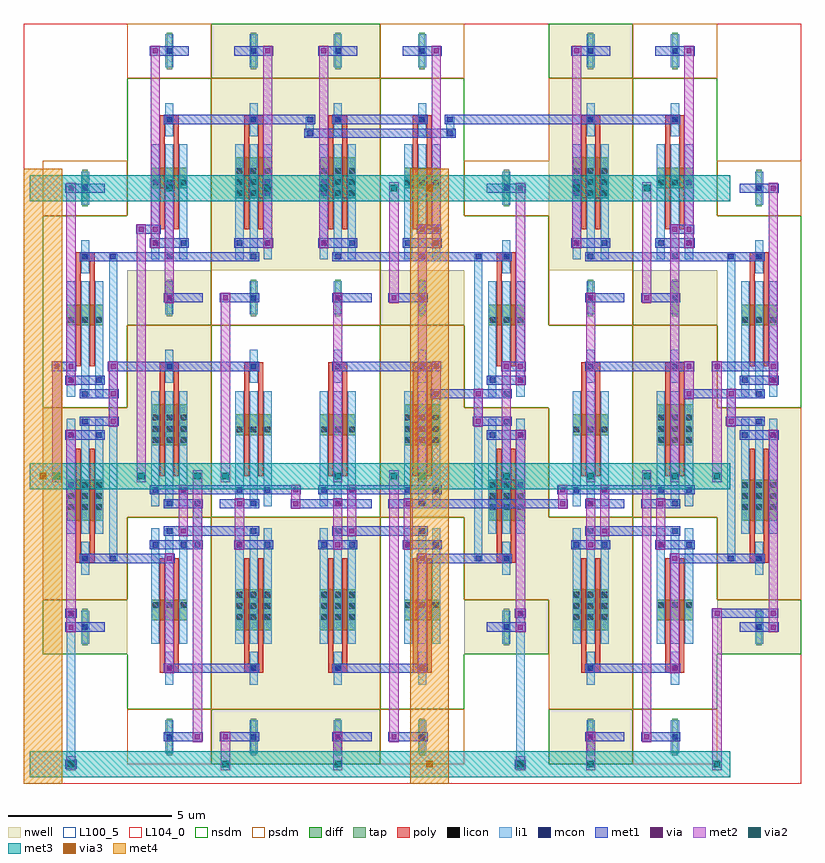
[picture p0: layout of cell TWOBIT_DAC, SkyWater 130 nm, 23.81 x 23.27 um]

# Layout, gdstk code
import gdstk
lib = gdstk.Library(unit=1e-6, precision=1e-09)
def R(c, l, rs):  # rectangles x0, y0, x1, y1
    for r in rs: c.add(gdstk.rectangle(r[:2], r[2:], *l))
def A(c, l, x, y, w, h, nx, ny, dx, dy):  # array of equal rectangles
    R(c, l, [(x+i*dx, y+j*dy, x+i*dx+w, y+j*dy+h) for i in range(nx) for j in range(ny)])
nwell = (64, 20)
diff = (65, 20)
tap = (65, 44)
poly = (66, 20)
licon = (66, 44)
li1 = (67, 20)
mcon = (67, 44)
met1 = (68, 20)
via = (68, 44)
met2 = (69, 20)
via2 = (69, 44)
met3 = (70, 20)
via3 = (70, 44)
met4 = (71, 20)
nsdm = (93, 44)
psdm = (94, 20)
L100_5 = (100, 5)
L104_0 = (104, 0)

twobit_dac = lib.new_cell('TWOBIT_DAC')
A(twobit_dac, nwell, 2.58, 7.56, 2.58, 7.56, 3, 1, 7.74, 0)
R(twobit_dac, nwell, [(5.16,0,7.74,7.56), (7.74,0,10.32,7.56), (15.48,0,18.06,7.56), (0,3.36,2.58,10.92), (12.9,3.36,15.48,10.92), (20.64,3.36,23.22,10.92), (5.16,15.12,7.74,22.68), (7.74,15.12,10.32,22.68), (15.48,15.12,18.06,22.68)])
A(twobit_dac, diff, 3.315, 4.41, 1.11, 0.63, 3, 2, 7.74, 13.23)
A(twobit_dac, diff, 3.315, 9.765, 1.11, 1.26, 3, 1, 7.74, 0)
R(twobit_dac, diff, [(5.895,4.095,7.005,5.355), (8.475,4.095,9.585,5.355), (16.215,4.095,17.325,5.355), (0.735,7.455,1.845,8.715), (13.635,7.455,14.745,8.715), (21.375,7.455,22.485,8.715), (5.895,10.08,7.005,10.71), (8.475,10.08,9.585,10.71), (16.215,10.08,17.325,10.71), (0.735,13.44,1.845,14.07), (13.635,13.44,14.745,14.07), (21.375,13.44,22.485,14.07), (5.895,17.325,7.005,18.585), (8.475,17.325,9.585,18.585), (16.215,17.325,17.325,18.585)])
A(twobit_dac, tap, 3.785, 0.28, 0.17, 1.12, 4, 2, 2.58, 13.44)
A(twobit_dac, tap, 3.785, 21.28, 0.17, 1.12, 4, 1, 2.58, 0)
R(twobit_dac, tap, [(16.685,0.28,16.855,1.4), (19.265,0.28,19.435,1.4), (1.205,3.64,1.375,4.76), (14.105,3.64,14.275,4.76), (21.845,3.64,22.015,4.76), (16.685,13.72,16.855,14.84), (19.265,13.72,19.435,14.84), (1.205,17.08,1.375,18.2), (14.105,17.08,14.275,18.2), (21.845,17.08,22.015,18.2), (16.685,21.28,16.855,22.4), (19.265,21.28,19.435,22.4)])
A(twobit_dac, poly, 3.58, 2.805, 0.58, 0.27, 4, 2, 2.58, 9.24)
A(twobit_dac, poly, 3.58, 19.605, 0.58, 0.27, 4, 1, 2.58, 0)
R(twobit_dac, poly, [(16.48,2.805,17.06,3.075), (19.06,2.805,19.64,3.075), (3.58,2.94,3.73,6.3), (4.01,2.94,4.16,6.3), (6.16,2.94,6.31,6.3), (6.59,2.94,6.74,6.3), (8.74,2.94,8.89,6.3), (9.17,2.94,9.32,6.3), (11.32,2.94,11.47,6.3), (11.75,2.94,11.9,6.3), (16.48,2.94,16.63,6.3), (16.91,2.94,17.06,6.3), (19.06,2.94,19.21,6.3), (19.49,2.94,19.64,6.3), (1,6.165,1.58,6.435), (13.9,6.165,14.48,6.435), (21.64,6.165,22.22,6.435), (1,6.3,1.15,9.66), (1.43,6.3,1.58,9.66), (13.9,6.3,14.05,9.66), (14.33,6.3,14.48,9.66), (21.64,6.3,21.79,9.66), (22.07,6.3,22.22,9.66), (3.58,8.82,3.73,12.18), (4.01,8.82,4.16,12.18), (6.16,8.82,6.31,12.18), (6.59,8.82,6.74,12.18), (8.74,8.82,8.89,12.18), (9.17,8.82,9.32,12.18), (11.32,8.82,11.47,12.18), (11.75,8.82,11.9,12.18), (16.48,8.82,16.63,12.18), (16.91,8.82,17.06,12.18), (19.06,8.82,19.21,12.18), (19.49,8.82,19.64,12.18), (16.48,12.045,17.06,12.315), (19.06,12.045,19.64,12.315), (1,12.18,1.15,15.54), (1.43,12.18,1.58,15.54), (13.9,12.18,14.05,15.54), (14.33,12.18,14.48,15.54), (21.64,12.18,21.79,15.54), (22.07,12.18,22.22,15.54), (1,15.405,1.58,15.675), (13.9,15.405,14.48,15.675), (21.64,15.405,22.22,15.675), (3.58,16.38,3.73,19.74), (4.01,16.38,4.16,19.74), (6.16,16.38,6.31,19.74), (6.59,16.38,6.74,19.74), (8.74,16.38,8.89,19.74), (9.17,16.38,9.32,19.74), (11.32,16.38,11.47,19.74), (11.75,16.38,11.9,19.74), (16.48,16.38,16.63,19.74), (16.91,16.38,17.06,19.74), (19.06,16.38,19.21,19.74), (19.49,16.38,19.64,19.74), (16.48,19.605,17.06,19.875), (19.06,19.605,19.64,19.875)])
A(twobit_dac, licon, 3.785, 0.755, 0.17, 0.17, 4, 2, 2.58, 2.1)
A(twobit_dac, licon, 5.935, 4.425, 0.17, 0.17, 3, 3, 0.43, 0.34)
A(twobit_dac, licon, 8.515, 4.425, 0.17, 0.17, 3, 3, 0.43, 0.34)
A(twobit_dac, licon, 16.255, 4.425, 0.17, 0.17, 3, 3, 0.43, 0.34)
A(twobit_dac, licon, 3.355, 4.79, 0.17, 0.17, 3, 2, 0.43, 5.055)
A(twobit_dac, licon, 11.095, 4.79, 0.17, 0.17, 3, 2, 0.43, 5.055)
A(twobit_dac, licon, 18.835, 4.79, 0.17, 0.17, 3, 2, 0.43, 5.055)
A(twobit_dac, licon, 0.775, 7.785, 0.17, 0.17, 3, 3, 0.43, 0.34)
A(twobit_dac, licon, 13.675, 7.785, 0.17, 0.17, 3, 3, 0.43, 0.34)
A(twobit_dac, licon, 21.415, 7.785, 0.17, 0.17, 3, 3, 0.43, 0.34)
A(twobit_dac, licon, 5.935, 10.16, 0.17, 0.17, 3, 2, 0.43, 7.245)
A(twobit_dac, licon, 8.515, 10.16, 0.17, 0.17, 3, 2, 0.43, 7.245)
A(twobit_dac, licon, 16.255, 10.16, 0.17, 0.17, 3, 2, 0.43, 7.245)
A(twobit_dac, licon, 3.355, 10.185, 0.17, 0.17, 3, 2, 0.43, 0.34)
A(twobit_dac, licon, 11.095, 10.185, 0.17, 0.17, 3, 2, 0.43, 0.34)
A(twobit_dac, licon, 18.835, 10.185, 0.17, 0.17, 3, 2, 0.43, 0.34)
A(twobit_dac, licon, 3.785, 12.095, 0.17, 0.17, 4, 2, 2.58, 2.1)
A(twobit_dac, licon, 0.775, 13.52, 0.17, 0.17, 3, 1, 0.43, 0)
A(twobit_dac, licon, 13.675, 13.52, 0.17, 0.17, 3, 1, 0.43, 0)
A(twobit_dac, licon, 21.415, 13.52, 0.17, 0.17, 3, 1, 0.43, 0)
A(twobit_dac, licon, 3.355, 17.72, 0.17, 0.17, 3, 1, 0.43, 0)
A(twobit_dac, licon, 11.095, 17.72, 0.17, 0.17, 3, 1, 0.43, 0)
A(twobit_dac, licon, 18.835, 17.72, 0.17, 0.17, 3, 1, 0.43, 0)
A(twobit_dac, licon, 5.935, 17.745, 0.17, 0.17, 3, 2, 0.43, 0.34)
A(twobit_dac, licon, 8.515, 17.745, 0.17, 0.17, 3, 2, 0.43, 0.34)
A(twobit_dac, licon, 16.255, 17.745, 0.17, 0.17, 3, 2, 0.43, 0.34)
A(twobit_dac, licon, 3.785, 19.655, 0.17, 0.17, 4, 2, 2.58, 2.1)
R(twobit_dac, licon, [(16.685,0.755,16.855,0.925), (19.265,0.755,19.435,0.925), (16.685,2.855,16.855,3.025), (19.265,2.855,19.435,3.025), (1.205,4.115,1.375,4.285), (14.105,4.115,14.275,4.285), (21.845,4.115,22.015,4.285), (1.205,6.215,1.375,6.385), (14.105,6.215,14.275,6.385), (21.845,6.215,22.015,6.385), (16.685,12.095,16.855,12.265), (19.265,12.095,19.435,12.265), (16.685,14.195,16.855,14.365), (19.265,14.195,19.435,14.365), (1.205,15.455,1.375,15.625), (14.105,15.455,14.275,15.625), (21.845,15.455,22.015,15.625), (1.205,17.555,1.375,17.725), (14.105,17.555,14.275,17.725), (21.845,17.555,22.015,17.725), (16.685,19.655,16.855,19.825), (19.265,19.655,19.435,19.825), (16.685,21.755,16.855,21.925), (19.265,21.755,19.435,21.925)])
A(twobit_dac, li1, 3.745, 0.335, 0.25, 1.01, 4, 2, 2.58, 2.1)
A(twobit_dac, li1, 3.315, 3.695, 0.25, 3.53, 3, 2, 0.43, 4.2)
A(twobit_dac, li1, 5.895, 3.695, 0.25, 3.53, 3, 2, 0.43, 4.2)
A(twobit_dac, li1, 8.475, 3.695, 0.25, 3.53, 3, 2, 0.43, 4.2)
A(twobit_dac, li1, 11.055, 3.695, 0.25, 3.53, 3, 2, 0.43, 4.2)
A(twobit_dac, li1, 16.215, 3.695, 0.25, 3.53, 3, 2, 0.43, 4.2)
A(twobit_dac, li1, 18.795, 3.695, 0.25, 3.53, 3, 2, 0.43, 4.2)
A(twobit_dac, li1, 0.735, 7.055, 0.25, 3.53, 3, 2, 0.43, 4.2)
A(twobit_dac, li1, 13.635, 7.055, 0.25, 3.53, 3, 2, 0.43, 4.2)
A(twobit_dac, li1, 21.375, 7.055, 0.25, 3.53, 3, 2, 0.43, 4.2)
A(twobit_dac, li1, 3.745, 11.675, 0.25, 1.01, 4, 2, 2.58, 2.1)
A(twobit_dac, li1, 3.315, 15.455, 0.25, 3.53, 3, 1, 0.43, 0)
A(twobit_dac, li1, 5.895, 15.455, 0.25, 3.53, 3, 1, 0.43, 0)
A(twobit_dac, li1, 8.475, 15.455, 0.25, 3.53, 3, 1, 0.43, 0)
A(twobit_dac, li1, 11.055, 15.455, 0.25, 3.53, 3, 1, 0.43, 0)
A(twobit_dac, li1, 16.215, 15.455, 0.25, 3.53, 3, 1, 0.43, 0)
A(twobit_dac, li1, 18.795, 15.455, 0.25, 3.53, 3, 1, 0.43, 0)
A(twobit_dac, li1, 3.745, 19.235, 0.25, 1.01, 4, 2, 2.58, 2.1)
R(twobit_dac, li1, [(0.735,-0.085,0.985,4.705), (14.495,-0.085,14.745,4.705), (16.645,0.335,16.895,1.345), (19.225,0.335,19.475,1.345), (16.645,2.435,16.895,3.445), (19.225,2.435,19.475,3.445), (1.165,3.695,1.415,4.705), (14.065,3.695,14.315,4.705), (21.805,3.695,22.055,4.705), (1.165,5.795,1.415,6.805), (14.065,5.795,14.315,6.805), (21.805,5.795,22.055,6.805), (2.025,6.215,2.275,15.625), (13.205,6.215,13.455,15.625), (20.945,6.215,21.195,15.625), (4.605,6.635,4.855,8.065), (16.645,11.675,16.895,12.685), (19.225,11.675,19.475,12.685), (16.645,13.775,16.895,14.785), (19.225,13.775,19.475,14.785), (1.165,15.035,1.415,16.045), (14.065,15.035,14.315,16.045), (21.805,15.035,22.055,16.045), (1.165,17.135,1.415,18.145), (14.065,17.135,14.315,18.145), (21.805,17.135,22.055,18.145), (8.045,19.235,8.295,19.825), (12.345,19.235,12.595,19.825), (16.645,19.235,16.895,20.245), (19.225,19.235,19.475,20.245), (16.645,21.335,16.895,22.345), (19.225,21.335,19.475,22.345)])
A(twobit_dac, mcon, 3.785, 0.755, 0.17, 0.17, 4, 2, 2.58, 2.1)
A(twobit_dac, mcon, 3.785, 7.055, 0.17, 0.17, 4, 2, 2.58, 5.04)
A(twobit_dac, mcon, 6.365, 7.895, 0.17, 0.17, 3, 1, 2.58, 0)
A(twobit_dac, mcon, 3.785, 14.195, 0.17, 0.17, 4, 2, 2.58, 1.26)
A(twobit_dac, mcon, 14.105, 15.455, 0.17, 0.17, 3, 1, 2.58, 0)
A(twobit_dac, mcon, 3.785, 21.755, 0.17, 0.17, 4, 1, 2.58, 0)
R(twobit_dac, mcon, [(0.775,-0.085,0.945,0.085), (14.535,-0.085,14.705,0.085), (16.685,0.755,16.855,0.925), (19.265,0.755,19.435,0.925), (16.685,2.855,16.855,3.025), (19.265,2.855,19.435,3.025), (1.205,4.115,1.375,4.285), (14.105,4.115,14.275,4.285), (21.845,4.115,22.015,4.285), (0.775,4.535,0.945,4.705), (14.535,4.535,14.705,4.705), (1.205,6.215,1.375,6.385), (2.065,6.215,2.235,6.385), (13.245,6.215,13.415,6.385), (14.105,6.215,14.275,6.385), (20.985,6.215,21.155,6.385), (21.845,6.215,22.015,6.385), (3.355,6.635,3.525,6.805), (4.215,6.635,4.385,6.805), (4.645,6.635,4.815,6.805), (5.935,6.635,6.105,6.805), (6.795,6.635,6.965,6.805), (8.515,6.635,8.685,6.805), (9.375,6.635,9.545,6.805), (11.095,6.635,11.265,6.805), (11.955,6.635,12.125,6.805), (16.255,6.635,16.425,6.805), (17.115,6.635,17.285,6.805), (18.835,6.635,19.005,6.805), (19.695,6.635,19.865,6.805), (16.685,7.055,16.855,7.225), (19.265,7.055,19.435,7.225), (3.785,7.895,3.955,8.065), (4.645,7.895,4.815,8.065), (16.685,7.895,16.855,8.065), (19.265,7.895,19.435,8.065), (3.355,8.315,3.525,8.485), (4.215,8.315,4.385,8.485), (5.935,8.315,6.105,8.485), (6.795,8.315,6.965,8.485), (8.515,8.315,8.685,8.485), (9.375,8.315,9.545,8.485), (11.095,8.315,11.265,8.485), (11.955,8.315,12.125,8.485), (16.255,8.315,16.425,8.485), (17.115,8.315,17.285,8.485), (18.835,8.315,19.005,8.485), (19.695,8.315,19.865,8.485), (0.775,9.995,0.945,10.165), (1.635,9.995,1.805,10.165), (13.675,9.995,13.845,10.165), (14.535,9.995,14.705,10.165), (21.415,9.995,21.585,10.165), (22.275,9.995,22.445,10.165), (1.205,10.415,1.375,10.585), (14.105,10.415,14.275,10.585), (21.845,10.415,22.015,10.585), (1.205,11.255,1.375,11.425), (14.105,11.255,14.275,11.425), (21.845,11.255,22.015,11.425), (0.775,11.675,0.945,11.845), (1.635,11.675,1.805,11.845), (13.675,11.675,13.845,11.845), (14.535,11.675,14.705,11.845), (21.415,11.675,21.585,11.845), (22.275,11.675,22.445,11.845), (16.685,12.095,16.855,12.265), (19.265,12.095,19.435,12.265), (16.685,14.195,16.855,14.365), (19.265,14.195,19.435,14.365), (1.205,15.455,1.375,15.625), (2.065,15.455,2.235,15.625), (13.245,15.455,13.415,15.625), (20.985,15.455,21.155,15.625), (21.845,15.455,22.015,15.625), (3.355,15.875,3.525,16.045), (4.215,15.875,4.385,16.045), (5.935,15.875,6.105,16.045), (6.795,15.875,6.965,16.045), (8.515,15.875,8.685,16.045), (9.375,15.875,9.545,16.045), (11.095,15.875,11.265,16.045), (11.955,15.875,12.125,16.045), (16.255,15.875,16.425,16.045), (17.115,15.875,17.285,16.045), (18.835,15.875,19.005,16.045), (19.695,15.875,19.865,16.045), (1.205,17.555,1.375,17.725), (14.105,17.555,14.275,17.725), (21.845,17.555,22.015,17.725), (8.085,19.235,8.255,19.405), (12.385,19.235,12.555,19.405), (3.785,19.655,3.955,19.825), (6.365,19.655,6.535,19.825), (8.085,19.655,8.255,19.825), (8.945,19.655,9.115,19.825), (11.525,19.655,11.695,19.825), (12.385,19.655,12.555,19.825), (16.685,19.655,16.855,19.825), (19.265,19.655,19.435,19.825), (16.685,21.755,16.855,21.925), (19.265,21.755,19.435,21.925)])
A(twobit_dac, met1, 5.85, 6.58, 1.2, 0.28, 3, 1, 2.58, 0)
A(twobit_dac, met1, 1.12, 15.4, 5.5, 0.28, 3, 1, 7.74, 0)
A(twobit_dac, met1, 3.27, 15.82, 1.2, 0.28, 4, 2, 2.58, 5.88)
R(twobit_dac, met1, [(0.69,-0.14,1.03,0.14), (14.45,-0.14,14.79,0.14), (3.7,0.7,4.9,0.98), (5.42,0.7,6.62,0.98), (8.86,0.7,10.06,0.98), (10.58,0.7,11.78,0.98), (16.6,0.7,17.8,0.98), (18.32,0.7,19.52,0.98), (3.7,2.8,6.62,3.08), (8.86,2.8,11.78,3.08), (16.6,2.8,19.52,3.08), (0.69,4.06,1.89,4.34), (13.59,4.06,14.79,4.34), (21.33,4.06,22.53,4.34), (0.69,4.48,1.03,4.76), (14.45,4.48,14.79,4.76), (20.48,4.48,22.52,4.76), (1.12,6.16,4.03,6.44), (11.45,6.16,14.36,6.44), (19.19,6.16,22.1,6.44), (3.27,6.58,4.9,6.86), (16.17,6.58,17.37,6.86), (18.75,6.58,19.95,6.86), (3.7,7,6.62,7.28), (8.86,7,11.78,7.28), (16.6,7,19.52,7.28), (3.7,7.84,4.9,8.12), (5.42,7.84,6.62,8.12), (7.58,7.84,10.06,8.12), (10.58,7.84,16.07,8.12), (16.6,7.84,17.8,8.12), (18.32,7.84,19.52,8.12), (3.27,8.26,7.9,8.54), (8.43,8.26,12.21,8.54), (15.75,8.26,19.95,8.54), (0.69,9.94,1.89,10.22), (13.59,9.94,14.79,10.22), (21.33,9.94,22.53,10.22), (1.12,10.36,2.32,10.64), (13.16,10.36,14.36,10.64), (20.9,10.36,22.1,10.64), (1.12,11.2,2.32,11.48), (11.88,11.2,14.36,11.48), (19.62,11.2,22.1,11.48), (0.69,11.62,1.89,11.9), (13.59,11.62,14.79,11.9), (21.33,11.62,22.53,11.9), (0.27,12.04,1.02,12.32), (1.99,12.04,6.62,12.32), (8.86,12.04,12.2,12.32), (14.03,12.04,14.78,12.32), (16.6,12.04,19.94,12.32), (20.48,12.04,22.52,12.32), (3.7,14.14,4.9,14.42), (5.42,14.14,6.62,14.42), (8.86,14.14,10.06,14.42), (10.58,14.14,11.78,14.42), (16.6,14.14,17.8,14.42), (18.32,14.14,19.52,14.42), (16.17,15.82,17.37,16.1), (18.75,15.82,19.95,16.1), (2.85,16.24,3.6,16.52), (11.45,16.24,12.2,16.52), (19.19,16.24,19.94,16.52), (0.69,17.5,1.89,17.78), (13.59,17.5,14.79,17.78), (21.33,17.5,22.53,17.78), (8,19.18,12.64,19.46), (3.7,19.6,8.34,19.88), (8.86,19.6,11.78,19.88), (12.3,19.6,19.52,19.88), (16.17,21.7,17.37,21.98), (18.75,21.7,19.95,21.98)])
A(twobit_dac, via, 3.795, 2.865, 0.15, 0.15, 3, 2, 7.74, 3.36)
A(twobit_dac, via, 2.075, 10.425, 0.15, 0.15, 1, 3, 0, 0.84)
R(twobit_dac, via, [(0.785,-0.075,0.935,0.075), (14.545,-0.075,14.695,0.075), (4.655,0.765,4.805,0.915), (5.515,0.765,5.665,0.915), (8.955,0.765,9.105,0.915), (10.675,0.765,10.825,0.915), (16.695,0.765,16.845,0.915), (18.415,0.765,18.565,0.915), (0.785,4.125,0.935,4.275), (14.545,4.125,14.695,4.275), (22.285,4.125,22.435,4.275), (0.785,4.545,0.935,4.695), (14.545,4.545,14.695,4.695), (20.565,4.545,20.715,4.695), (22.285,4.545,22.435,4.695), (5.945,6.645,6.095,6.795), (8.955,6.645,9.105,6.795), (11.105,6.645,11.255,6.795), (16.695,6.645,16.845,6.795), (18.845,6.645,18.995,6.795), (4.225,7.065,4.375,7.215), (9.385,7.065,9.535,7.215), (17.125,7.065,17.275,7.215), (5.945,7.905,6.095,8.055), (7.665,7.905,7.815,8.055), (8.955,7.905,9.105,8.055), (11.105,7.905,11.255,8.055), (15.835,7.905,15.985,8.055), (16.695,7.905,16.845,8.055), (18.845,7.905,18.995,8.055), (4.225,8.325,4.375,8.475), (7.665,8.325,7.815,8.475), (9.385,8.325,9.535,8.475), (15.835,8.325,15.985,8.475), (17.125,8.325,17.275,8.475), (0.785,10.005,0.935,10.155), (14.545,10.005,14.695,10.155), (22.285,10.005,22.435,10.155), (13.255,10.425,13.405,10.575), (20.995,10.425,21.145,10.575), (11.965,11.265,12.115,11.415), (13.255,11.265,13.405,11.415), (19.705,11.265,19.855,11.415), (20.995,11.265,21.145,11.415), (0.785,11.685,0.935,11.835), (14.545,11.685,14.695,11.835), (22.285,11.685,22.435,11.835), (0.355,12.105,0.505,12.255), (0.785,12.105,0.935,12.255), (11.965,12.105,12.115,12.255), (14.115,12.105,14.265,12.255), (14.545,12.105,14.695,12.255), (19.705,12.105,19.855,12.255), (20.565,12.105,20.715,12.255), (22.285,12.105,22.435,12.255), (3.795,14.205,3.945,14.355), (5.515,14.205,5.665,14.355), (8.955,14.205,9.105,14.355), (10.675,14.205,10.825,14.355), (16.695,14.205,16.845,14.355), (18.415,14.205,18.565,14.355), (3.365,15.885,3.515,16.035), (6.805,15.885,6.955,16.035), (8.525,15.885,8.675,16.035), (11.965,15.885,12.115,16.035), (16.265,15.885,16.415,16.035), (19.705,15.885,19.855,16.035), (2.935,16.305,3.085,16.455), (3.365,16.305,3.515,16.455), (11.535,16.305,11.685,16.455), (11.965,16.305,12.115,16.455), (19.275,16.305,19.425,16.455), (19.705,16.305,19.855,16.455), (0.785,17.565,0.935,17.715), (14.545,17.565,14.695,17.715), (22.285,17.565,22.435,17.715), (3.365,21.765,3.515,21.915), (6.805,21.765,6.955,21.915), (8.525,21.765,8.675,21.915), (11.965,21.765,12.115,21.915), (16.265,21.765,16.415,21.915), (19.705,21.765,19.855,21.915)])
A(twobit_dac, met2, 3.73, 2.78, 0.28, 3.68, 3, 1, 7.74, 0)
R(twobit_dac, met2, [(0.72,-0.185,1,0.242), (5.45,-0.185,5.73,1), (8.89,-0.185,9.17,1), (14.48,-0.185,14.76,0.242), (16.63,-0.185,16.91,1), (20.5,-0.185,20.78,4.78), (4.59,0.68,4.87,9.005), (10.61,0.68,10.89,9.005), (18.35,0.68,18.63,9.005), (0.72,4.04,1,10.24), (14.48,4.04,14.76,10.24), (22.22,4.04,22.5,10.24), (5.88,6.56,6.16,8.14), (8.89,6.56,9.17,8.14), (11.04,6.56,11.32,8.14), (16.63,6.56,16.91,8.14), (18.78,6.56,19.06,8.14), (4.16,6.98,4.44,8.56), (9.32,6.98,9.6,8.56), (17.06,6.98,17.34,8.56), (7.6,7.82,7.88,8.56), (15.77,7.82,16.05,8.56), (0.29,8.635,0.57,12.34), (2.87,8.635,3.15,16.54), (5.45,8.635,5.73,14.44), (8.89,8.635,9.17,14.44), (11.47,8.635,11.75,16.54), (14.05,8.635,14.33,12.34), (16.63,8.635,16.91,14.44), (19.21,8.635,19.49,16.54), (20.5,8.635,20.78,12.34), (2.01,10.34,2.29,12.34), (13.19,10.34,13.47,11.5), (20.93,10.34,21.21,11.5), (11.9,11.18,12.18,12.34), (19.64,11.18,19.92,12.34), (0.72,11.6,1,17.8), (14.48,11.6,14.76,17.8), (22.22,11.6,22.5,17.8), (3.73,14.12,4.01,17.825), (10.61,14.12,10.89,17.825), (18.35,14.12,18.63,17.825), (3.3,15.8,3.58,22), (6.74,15.8,7.02,22), (8.46,15.8,8.74,22), (11.9,15.8,12.18,22), (16.2,15.8,16.48,22), (19.64,15.8,19.92,22)])
A(twobit_dac, via2, 11.51, 8.72, 0.2, 0.2, 3, 1, 2.58, 0)
R(twobit_dac, via2, [(0.76,-0.1,0.96,0.1), (5.49,-0.1,5.69,0.1), (8.93,-0.1,9.13,0.1), (14.52,-0.1,14.72,0.1), (16.67,-0.1,16.87,0.1), (20.54,-0.1,20.74,0.1), (0.33,8.72,0.53,8.92), (2.91,8.72,3.11,8.92), (4.63,8.72,4.83,8.92), (5.49,8.72,5.69,8.92), (8.93,8.72,9.13,8.92), (10.65,8.72,10.85,8.92), (18.39,8.72,18.59,8.92), (19.25,8.72,19.45,8.92), (20.54,8.72,20.74,8.92), (3.77,17.54,3.97,17.74), (6.78,17.54,6.98,17.74), (8.5,17.54,8.7,17.74), (10.65,17.54,10.85,17.74), (16.24,17.54,16.44,17.74), (18.39,17.54,18.59,17.74)])
A(twobit_dac, met3, -0.4, -0.4, 21.44, 0.8, 1, 3, 0, 8.82)
R(twobit_dac, via3, [(11.74,-0.1,11.94,0.1), (-0.1,8.72,0.1,8.92), (11.74,17.54,11.94,17.74)])
R(twobit_dac, met4, [(-0.59,-0.59,0.59,18.23), (11.25,-0.59,12.43,18.23)])
A(twobit_dac, nsdm, 2.58, 1.68, 2.58, 5.88, 3, 2, 7.74, 13.44)
A(twobit_dac, nsdm, 2.58, 13.44, 2.58, 1.68, 3, 1, 7.74, 0)
R(twobit_dac, nsdm, [(5.16,0,7.74,1.68), (7.74,0,10.32,1.68), (15.48,0,18.06,1.68), (0,3.36,2.58,5.04), (12.9,3.36,15.48,5.04), (20.64,3.36,23.22,5.04), (5.16,7.56,7.74,13.44), (7.74,7.56,10.32,13.44), (15.48,7.56,18.06,13.44), (0,10.92,2.58,16.8), (12.9,10.92,15.48,16.8), (20.64,10.92,23.22,16.8), (5.16,21,7.74,22.68), (7.74,21,10.32,22.68), (15.48,21,18.06,22.68)])
A(twobit_dac, psdm, 2.58, 0, 2.58, 1.68, 3, 2, 7.74, 21)
A(twobit_dac, psdm, 2.58, 7.56, 2.58, 5.88, 3, 1, 7.74, 0)
R(twobit_dac, psdm, [(5.16,1.68,7.74,7.56), (7.74,1.68,10.32,7.56), (15.48,1.68,18.06,7.56), (0,5.04,2.58,10.92), (12.9,5.04,15.48,10.92), (20.64,5.04,23.22,10.92), (5.16,13.44,7.74,15.12), (7.74,13.44,10.32,15.12), (15.48,13.44,18.06,15.12), (5.16,15.12,7.74,21), (7.74,15.12,10.32,21), (15.48,15.12,18.06,21), (0,16.8,2.58,18.48), (12.9,16.8,15.48,18.48), (20.64,16.8,23.22,18.48)])
R(twobit_dac, L100_5, [(-0.59,-0.59,23.22,22.68)])
R(twobit_dac, L104_0, [(-0.59,-0.59,23.22,22.68)])

lib.write_gds('TWOBIT_DAC.gds')
